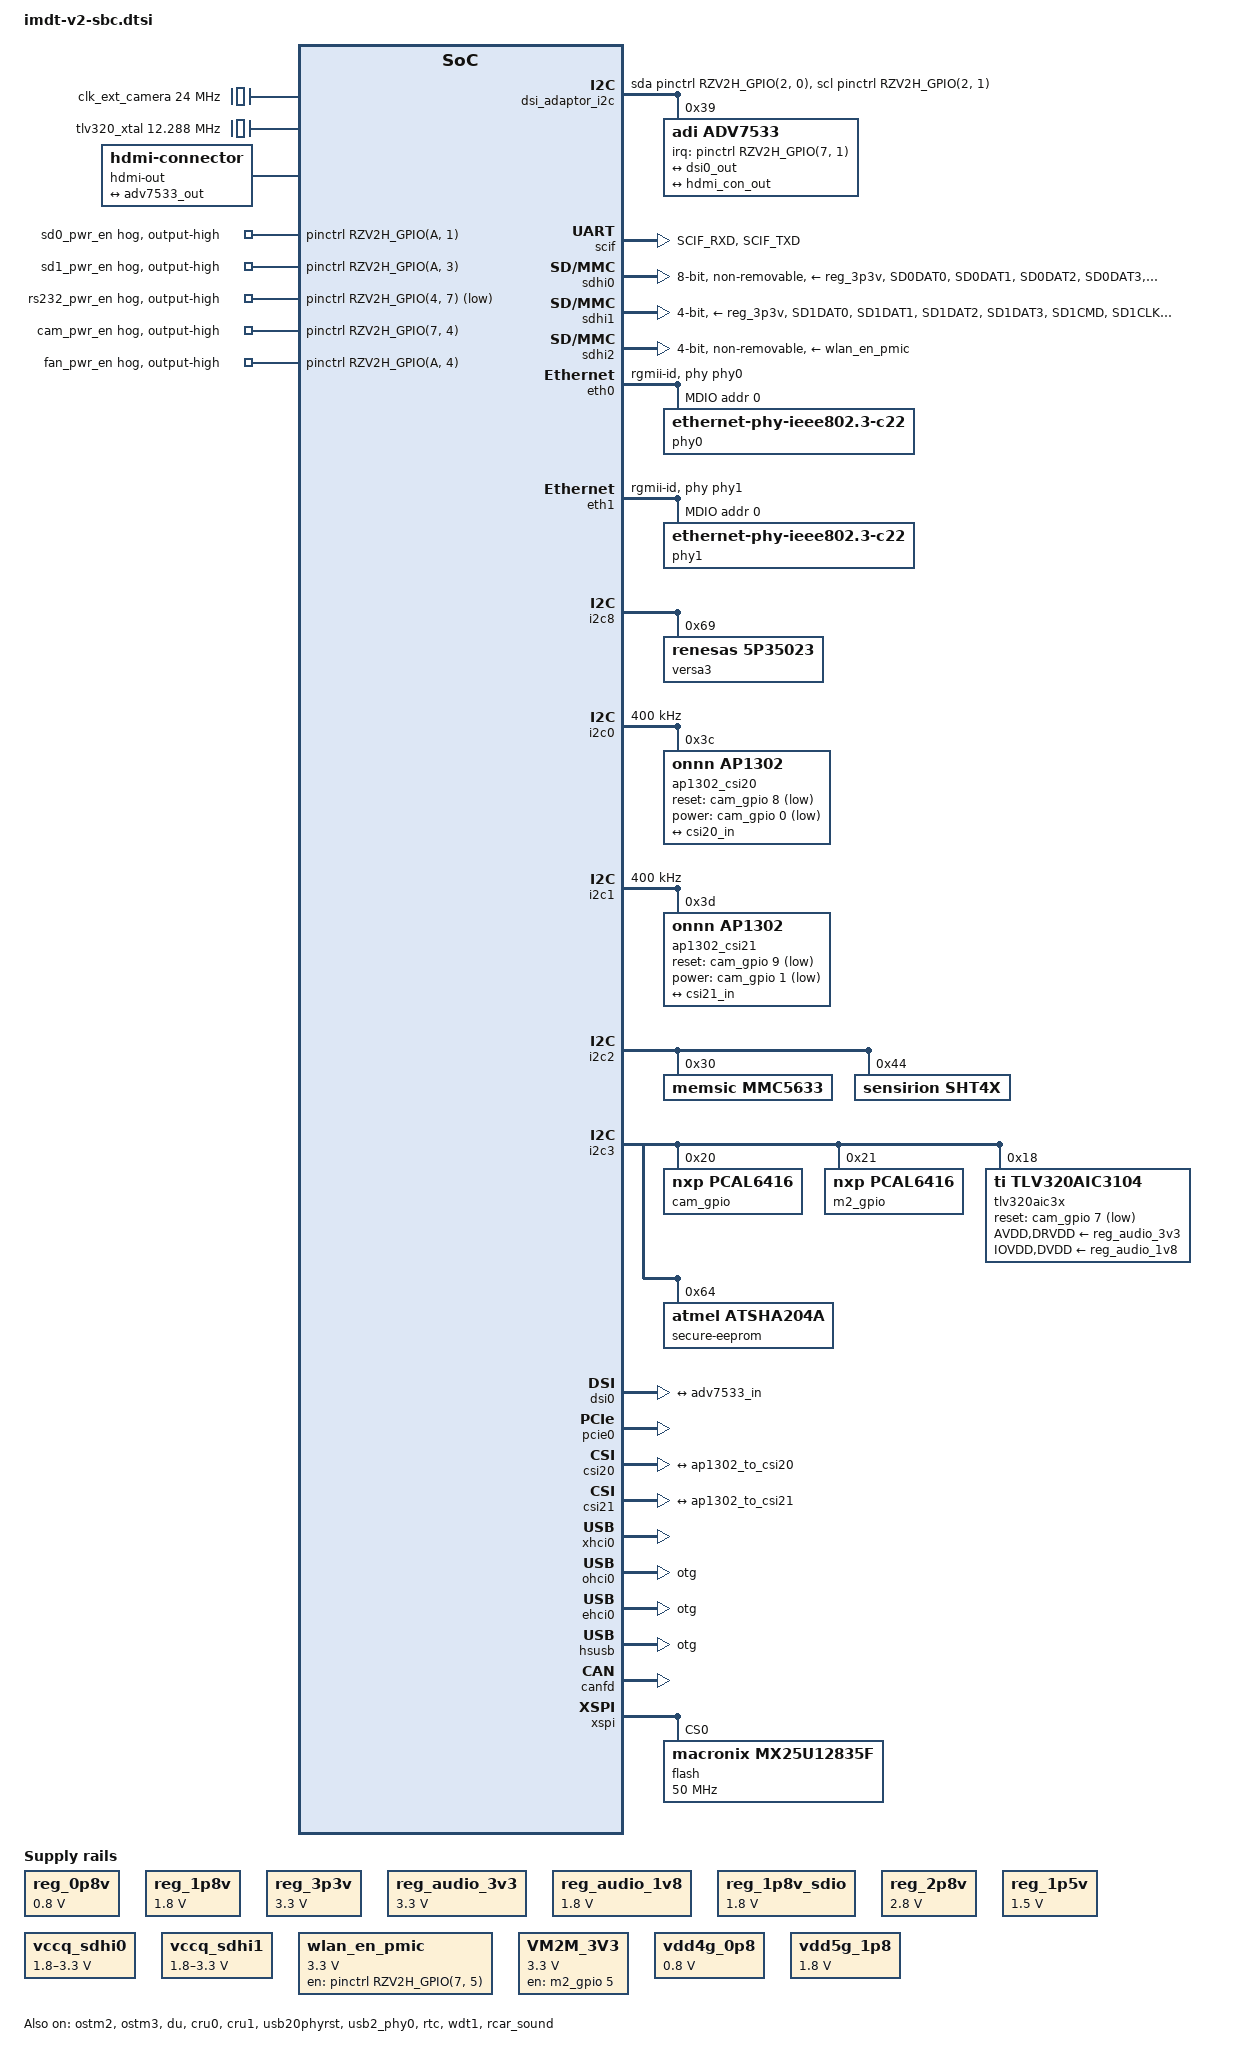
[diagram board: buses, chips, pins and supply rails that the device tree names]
// SPDX-License-Identifier: (GPL-2.0-only OR BSD-2-Clause)
/*
 * Common device tree for the IMDT Renesas V2N or V2H SBCs
 *
 * Copyright (C) 2025 Renesas Electronics Corp.
 * Copyright (C) 2024 IMD Technologies Ltd.
 */

/* I2C7_SEL:
 *	0 - Use RS232 (default)
 *	1 - Use I2C7 for CSI camera slot 4
*/

#define I2C7_SEL	0

/ {
	chosen {
		bootargs = "ignore_loglevel";
		stdout-path = "serial0:115200n8";
	};

	mmngr {
		compatible = "renesas,mmngr";
		memory-region = <&mmp_reserved>;
	};

	mmngrbuf {
		compatible = "renesas,mmngrbuf";
	};

	vspm_if {
		compatible = "renesas,vspm_if";
	};

	reg_0p8v: regulator-0p8v {
		compatible = "regulator-fixed";

		regulator-name = "fixed-0.8V";
		regulator-min-microvolt = <800000>;
		regulator-max-microvolt = <800000>;
		regulator-boot-on;
		regulator-always-on;
	};

	reg_1p8v: regulator0 {
		compatible = "regulator-fixed";

		regulator-name = "fixed-1.8V";
		regulator-min-microvolt = <1800000>;
		regulator-max-microvolt = <1800000>;
		regulator-boot-on;
		regulator-always-on;
	};

	reg_3p3v: regulator1 {
		compatible = "regulator-fixed";

		regulator-name = "fixed-3.3V";
		regulator-min-microvolt = <3300000>;
		regulator-max-microvolt = <3300000>;
		regulator-boot-on;
		regulator-always-on;
	};

	reg_audio_3v3: regulator2 {
		compatible = "regulator-fixed";
		regulator-name = "audio-3V3";
		regulator-min-microvolt = <3300000>;
		regulator-max-microvolt = <3300000>;
		regulator-always-on;
	};

	reg_audio_1v8: regulator3 {
		compatible = "regulator-fixed";
		regulator-name = "audio-1V8";
		regulator-min-microvolt = <1800000>;
		regulator-max-microvolt = <1800000>;
		regulator-always-on;
	};

	reg_1p8v_sdio: regulator4 {
		compatible = "regulator-fixed";
		regulator-name = "sdio-fixed-1.8V";
		regulator-min-microvolt = <1800000>;
		regulator-max-microvolt = <1800000>;
		regulator-boot-on;
		regulator-always-on;
	};
	reg_2p8v: regulator5 {
		compatible = "regulator-fixed";

		regulator-name = "fixed-2.8V";
		regulator-min-microvolt = <2800000>;
		regulator-max-microvolt = <2800000>;
		regulator-boot-on;
		regulator-always-on;
	};
	reg_1p5v: regulator6 {
		compatible = "regulator-fixed";

		regulator-name = "fixed-1.5V";
		regulator-min-microvolt = <1500000>;
		regulator-max-microvolt = <1500000>;
		regulator-boot-on;
		regulator-always-on;
	};

	vccq_sdhi0: regulator-vccq-sdhi0 {
		compatible = "regulator-gpio";

		regulator-name = "SDHI0 VccQ";
		regulator-min-microvolt = <1800000>;
		regulator-max-microvolt = <3300000>;

		// LDO_SEL1 input on RAA215300 PMIC
		gpios = <&pinctrl RZV2H_GPIO(A, 0) GPIO_ACTIVE_HIGH>;

		gpios-states = <0>;
		states = <3300000 0 1800000 1>;
	};

	vccq_sdhi1: regulator-vccq-sdhi1 {
		compatible = "regulator-gpio";

		regulator-name = "SDHI1 VccQ";
		regulator-min-microvolt = <1800000>;
		regulator-max-microvolt = <3300000>;

		// LDO_SEL2 input on RAA215300 PMIC
		gpios = <&pinctrl RZV2H_GPIO(A, 2) GPIO_ACTIVE_HIGH>;

		gpios-states = <0>;
		states = <3300000 0 1800000 1>;
	};

	wlan_en_pmic: wlan-en-1-8v {
		compatible = "regulator-fixed";

		regulator-name = "wlan-pmic-en-regulator";
		regulator-min-microvolt = <3300000>;
		regulator-max-microvolt = <3300000>;

		gpio = <&pinctrl RZV2H_GPIO(7, 5) GPIO_ACTIVE_HIGH>;

		startup-delay-us = <100000>;
		enable-active-high;
	};

	// Regulator for the M2 Key M slot
	VM2M_3V3: VM2M_en-3-3v {
		compatible = "regulator-fixed";

		regulator-name = "V2M_3V3";
		regulator-min-microvolt = <3300000>;
		regulator-max-microvolt = <3300000>;

		gpio = <&m2_gpio 5 GPIO_ACTIVE_HIGH>;

		startup-delay-us = <5000>; /* Measured to take 0.5ms using a scope, set to 5ms so there's a safety factor to ensure the regulator is stable */
		enable-active-high;
	};

	clk_ext_camera: clk_ext_camera {
		compatible = "fixed-clock";
		#clock-cells = <0>;
		clock-frequency = <24000000>;
	};

	vdd4g_0p8: vdd4g-0p8-regulator {
		compatible = "regulator-fixed";
		regulator-name = "vdd4g-0p8";
		regulator-min-microvolt = <800000>;
		regulator-max-microvolt = <800000>;
		regulator-always-on;
		regulator-boot-on;
	};

	vdd5g_1p8: vdd5g-1p8-regulator {
		compatible = "regulator-fixed";
		regulator-name = "vdd5g-1p8";
		regulator-min-microvolt = <1800000>;
		regulator-max-microvolt = <1800000>;
		regulator-always-on;
		regulator-boot-on;
	};

	// ov5645_vdddo_1v8: 1p8v {
	// 	compatible = "regulator-fixed";
	// 	regulator-name = "camera_vdddo";
	// 	regulator-min-microvolt = <1800000>;
	// 	regulator-max-microvolt = <1800000>;
	// 	regulator-always-on;
	// };

	// ov5645_vdda_2v8: 2p8v {
	// 	compatible = "regulator-fixed";
	// 	regulator-name = "camera_vdda";
	// 	regulator-min-microvolt = <2800000>;
	// 	regulator-max-microvolt = <2800000>;
	// 	regulator-always-on;
	// };

	// ov5645_vddd_1v5: 1p5v {
	// 	compatible = "regulator-fixed";
	// 	regulator-name = "camera_vddd";
	// 	regulator-min-microvolt = <1500000>;
	// 	regulator-max-microvolt = <1500000>;
	// 	regulator-always-on;
	// };

	/* input to the 5L35023B */
	x1_clk: x1-clock {
		compatible = "fixed-clock";
		#clock-cells = <0>;
		clock-frequency = <24000000>;
	};

	tlv320_xtal: tlv320_xtal {
		compatible = "fixed-clock";
		#clock-cells = <0>;
		clock-frequency = <12288000>;
	};

	snd_rzv2h: sound {
		#address-cells = <1>;
		#size-cells = <0>;
		compatible = "simple-audio-card";
		simple-audio-card,name = "rsnd_rzv2h";
		status="okay";
		simple-audio-card,widgets =
		"Microphone", "Microphone Jack",
		"Headphone", "Headphone Jack";
		simple-audio-card,routing =
		"Headphone Jack", "HPLOUT",
		"Headphone Jack", "HPROUT",
		"MIC2R", "Microphone Jack",
		"Microphone Jack", "Mic Bias";

			ssi_link: simple-audio-card,dai-link@0 {
				format = "i2s";
				reg = <0>;
				bitclock-master = <&cpu_dai0>;
				frame-master = <&cpu_dai0>;
				mclk-fs = <256>;
				
				cpu_dai0: cpu {
					sound-dai = <&rcar_sound>;
				};

				codec {
					sound-dai = <&tlv320aic3x>;
				};
			};
	};

	udmabuf@0 {
		compatible = "ikwzm,u-dma-buf";
		device-name = "udmabuf0";
		minor-number = <0>;
		size = <0x4000000>; // 64MiB
		dma-coherent;
		memory-region = <&image_buf0>;
	};

	dsi_adaptor_i2c: dsi_adaptor_i2c {
		compatible = "i2c-gpio";
		sda-gpios = <&pinctrl RZV2H_GPIO(2, 0) GPIO_ACTIVE_HIGH>;
		scl-gpios = <&pinctrl RZV2H_GPIO(2, 1) GPIO_ACTIVE_HIGH>;
		i2c-gpio,delay-us = <2>; /* ~100 kHz */
		#address-cells = <1>;
		#size-cells = <0>;
		status = "okay";

		adv7533: hdmi@39 {
			compatible = "adi,adv7533";
			reg = <0x39>;
			status = "okay";
			interrupt-parent = <&pinctrl>;
			interrupts = <RZV2H_GPIO(7, 1) IRQ_TYPE_LEVEL_LOW>;
			adi,dsi-lanes = <4>;

			ports {
				#address-cells = <1>;
				#size-cells = <0>;

				port@0 {
					reg = <0>;
					adv7533_in: endpoint@0 {
						remote-endpoint = <&dsi0_out>;
					};
				};

				port@1 {
					reg = <1>;
					adv7533_out: endpoint@1 {
						remote-endpoint = <&hdmi_con_out>;
					};
				};
			};
		};
	};

	hdmi-out {
		compatible = "hdmi-connector";
		type = "d";

		port {
			hdmi_con_out: endpoint {
				remote-endpoint = <&adv7533_out>;
			};
		};
	};
};

&audio_clka {
	/* output from 5L35023B */
	clock-frequency = <22579200>;
}; 

&pinctrl {
	can1_pins: can1 {
		pinmux = <RZV2H_PORT_PINMUX(8, 2, 5)>, /* TX */
		<RZV2H_PORT_PINMUX(8, 3, 5)>; /* RX */
	};

	scif_pins: scif {
		pins =  "SCIF_RXD", "SCIF_TXD";
	};

	sci0_pins: sci0 {
		pinmux = <RZV2H_PORT_PINMUX(5, 0, 1)>, /* SCI0_TXD_MOSI_SDA */
		<RZV2H_PORT_PINMUX(5, 1, 1)>; /* SCI0_RXD_MISO_SCL */
	};

	// TODO: these are used to communicate with the ISPs

	// sci4_pins: sci4 {
	// 	pinmux = <RZV2H_PORT_PINMUX(8, 4, 6)>, /* SCI4_TXD_MOSI_SDA */
	// 		 <RZV2H_PORT_PINMUX(8, 5, 6)>; /* SCI4_RXD_MISO_SCL */
	// };

	// TODO: these are used to communicate with the IMU

	// sci5_pins: sci5 {
	// 	pinmux = <RZV2H_PORT_PINMUX(8, 6, 6)>, /* SCI5_TXD_MOSI_SDA */
	// 		 <RZV2H_PORT_PINMUX(8, 7, 6)>; /* SCI5_RXD_MISO_SCL */
	// };

	sd0_pwr_en {
		gpio-hog;
		gpios = <RZV2H_GPIO(A, 1) GPIO_ACTIVE_HIGH>;
		output-high;
		line-name = "sd0_pwr_en";
	};

	sdhi0_emmc_pins: emmc-pins {
		sd0-dat-cmd {
			pins = "SD0DAT0", "SD0DAT1", "SD0DAT2", "SD0DAT3", "SD0DAT4",
					"SD0DAT5", "SD0DAT6", "SD0DAT7", "SD0CMD";
			input-enable;
			renesas,output-impedance = <3>;
			slew-rate = <0>;
		};

		sd0-clk {
			pins = "SD0CLK";
			renesas,output-impedance = <3>;
			slew-rate = <0>;
		};
	};

	sd1_pwr_en {
		gpio-hog;
		gpios = <RZV2H_GPIO(A, 3) GPIO_ACTIVE_HIGH>;
		output-high;
		line-name = "sd1_pwr_en";
	};

	sdhi1_pins: sd1 {
		sd1_dat_cmd {
			pins = "SD1DAT0", "SD1DAT1", "SD1DAT2", "SD1DAT3", "SD1CMD";
			input-enable;
			renesas,output-impedance = <3>;
			slew-rate = <0>;
		};

		sd1_clk {
			pins = "SD1CLK";
			renesas,output-impedance = <3>;
			slew-rate = <0>;
		};
	};

	rs232_pwr_en {
#if !I2C7_SEL
		gpio-hog;
		gpios = <RZV2H_GPIO(4, 7) GPIO_ACTIVE_LOW>;
		output-high;
		line-name = "rs232_pwr_en";
#endif
	};
	/* cam_pwr_en turns on 1.2V reg, 1.8V_CAM supply and 3.3V_CAM supply. */
	/* Schematic on SOM shows this being PB2/CAM0&1_PWR but it's actually using */ 
	/* P74. And you can trace this from the SOM to the SBC schematic */
	cam_pwr_en {
		gpio-hog;
		gpios = <RZV2H_GPIO(7, 4) GPIO_ACTIVE_HIGH>;
		output-high;
		line-name = "cam_pwr_en";
	};

	fan_pwr_en {
		gpio-hog;
		gpios = <RZV2H_GPIO(A, 4) GPIO_ACTIVE_HIGH>;
		output-high;
		line-name = "fan_pwr_en";
	};

	i2c0_pins: i2c0 {
		pinmux = <RZV2H_PORT_PINMUX(3, 0, 1)>, /* I2C0_SDA */
		<RZV2H_PORT_PINMUX(3, 1, 1)>; /* I2C0_SCL */
	};

	i2c1_pins: i2c1 {
		pinmux = <RZV2H_PORT_PINMUX(3, 2, 1)>, /* I2C1_SDA */
		<RZV2H_PORT_PINMUX(3, 3, 1)>; /* I2C1_SCL */
	};

	i2c2_pins: i2c2 {
#if (!I3C_SEL)
		pinmux = <RZV2H_PORT_PINMUX(3, 4, 1)>, /* I2C2_SDA */
			 <RZV2H_PORT_PINMUX(3, 5, 1)>; /* I2C2_SCL */
#endif
	};

	i2c3_pins: i2c3 {
		pinmux = <RZV2H_PORT_PINMUX(3, 6, 1)>, /* I2C3_SDA */
			 <RZV2H_PORT_PINMUX(3, 7, 1)>; /* I2C3_SCL */
	};

	i2c5_pins: i2c5 {
		pinmux = <RZV2H_PORT_PINMUX(4, 2, 1)>, /* I2C5_SDA */
		<RZV2H_PORT_PINMUX(4, 3, 1)>; /* I2C5_SCL */
	};

	i2c6_pins: i2c6 {
		pinmux = <RZV2H_PORT_PINMUX(4, 4, 1)>, /* I2C6_SDA */
			 <RZV2H_PORT_PINMUX(4, 5, 1)>; /* I2C6_SCL */
	};

#if I2C7_SEL
	i2c7_pins: i2c7 {
		pinmux = <RZV2H_PORT_PINMUX(4, 6, 1)>, /* I2C7_SDA */
			 <RZV2H_PORT_PINMUX(4, 7, 1)>; /* I2C7_SCL */
	};
#endif

	i2c8_pins: i2c8 {
		pinmux = <RZV2H_PORT_PINMUX(0, 6, 1)>, /* I2C8_SDA */
			 <RZV2H_PORT_PINMUX(0, 7, 1)>; /* I2C8_SCL */
	};

	usb30_pins: usb30 {
		pinmux = <RZV2H_PORT_PINMUX(6, 0, 14)>; /* VBUS */
	};

	usb31_pins: usb31 {
		pinmux = <RZV2H_PORT_PINMUX(6, 2, 14)>; /* VBUS */
	};

	usb20_pins: usb20 {
		pinmux = <RZV2H_PORT_PINMUX(9, 5, 14)>, /* VBUS */
		<RZV2H_PORT_PINMUX(9, 6, 14)>; /* OVC */
	};

	usb21_pins: usb21 {
		pinmux = <RZV2H_PORT_PINMUX(6, 6, 14)>, /* VBUS */
		<RZV2H_PORT_PINMUX(6, 7, 14)>; /* OVC */
	};

	i3c_pins: i3c {
#if (I3C_SEL)
		pinmux = <RZV2H_PORT_PINMUX(2, 0, 1)>, /* I3C_SDA */
			 <RZV2H_PORT_PINMUX(2, 1, 1)>; /* I3C_SCL */
#endif
	};

	// spi2_pins: spi2 {
	// 	pinmux = <RZV2H_PORT_PINMUX(B, 3, 5)>, /* MISO */
	// 		 <RZV2H_PORT_PINMUX(B, 4, 5)>, /* MOSI */
	// 		 <RZV2H_PORT_PINMUX(A, 7, 5)>, /* SSL */
	// 		 <RZV2H_PORT_PINMUX(B, 5, 5)>; /* RSPCK */
	// };

	// TODO: Chat with Arnon
	// We should switch to use RSPI or I2C as 
	// there is currently no Simple SPI (RSCI) driver in
	// the kernel. Also, make sure to use their dedicated
	// Slave Select pin when using SPI as it will be toggled
	// by the HW regardless.
	// spi4_pins: spi4 {
	// 	pinmux = <RZV2H_PORT_PINMUX(8,  5, 6)>, /* MISO */
	// 		 <RZV2H_PORT_PINMUX(8,  4, 6)>, /* MOSI */
	// 		 <RZV2H_PORT_PINMUX(6,  4, 0)>, /* SSL */
	// 		 <RZV2H_PORT_PINMUX(8,  0, 1)>; /* RSPCK */
	// };

	sound_pins: sound {
		pinmux = <RZV2H_PORT_PINMUX(1, 2, 7)>, /* SSI3_SCK */
		<RZV2H_PORT_PINMUX(1, 3, 7)>, /* SSI3_WS */
		<RZV2H_PORT_PINMUX(0, 4, 7)>, /* SSI3_SDATA */
		<RZV2H_PORT_PINMUX(1, 5, 7)>; /* SSI4_SDATA */
	};

	wifi_sdio_pins: wifi {
		wifi_sdio_data_pins {
		pinmux = <RZV2H_PORT_PINMUX(B, 1, 1)>, //SD2DAT0
			<RZV2H_PORT_PINMUX(B, 2, 1)>, //SD2DAT1
			<RZV2H_PORT_PINMUX(B, 3, 1)>, //SD2DAT2
			<RZV2H_PORT_PINMUX(B, 4, 1)>, //SD2DAT3
			<RZV2H_PORT_PINMUX(B, 5, 1)>; //SD2CMD
		};

		wifi_sdio_clk_pin {
		pinmux = <RZV2H_PORT_PINMUX(B, 0, 1)>; //SD2CLK
		};
	};

	bluetooth_pins: bluetooth {
		pinmux = <RZV2H_PORT_PINMUX(5, 4, 1)>, //SCI2_TXD_MOSI_SDA
		<RZV2H_PORT_PINMUX(5, 5, 1)>, //SCI2_RXD_MISO_SCL
		<RZV2H_PORT_PINMUX(5, 6, 4)>, //SCI2_CTS
		<RZV2H_PORT_PINMUX(5, 7, 2)>; //SCI2_CTS_RTS	
	};
};

&qextal_clk {
	clock-frequency = <24000000>;
};

&ostm2 {
	status = "okay";
};

&ostm3 {
	status = "okay";
};

&scif {
	pinctrl-0 = <&scif_pins>;
	pinctrl-names = "default";

	status = "okay";
};


// TODO: Replace this with the Simple-SPI peripheral

//&sci4 {
// 	pinctrl-0 = <&sci4_pins>;
// 	pinctrl-names = "default";
// 	status = "okay";
// };

// TODO: Replace this with the Simple-SPI peripheral

//&sci5 {
// 	pinctrl-0 = <&sci5_pins>;
// 	pinctrl-names = "default";
// 	status = "okay";
// };

&sdhi0 {
	pinctrl-0 = <&sdhi0_emmc_pins>;
	pinctrl-1 = <&sdhi0_emmc_pins>;
	pinctrl-names = "default", "state_uhs";
	vmmc-supply = <&reg_3p3v>;
	vqmmc-supply = <&vccq_sdhi0>;
	bus-width = <8>;
	non-removable;
	no-sd;
	no-sdio;
	mmc-hs200-1_8v;
	fixed-emmc-driver-type = <1>;
	status = "okay";
};

&sdhi1 {
	pinctrl-0 = <&sdhi1_pins>;
	pinctrl-1 = <&sdhi1_pins>;
	pinctrl-names = "default", "state_uhs";
	vmmc-supply  = <&reg_3p3v>;
	vqmmc-supply = <&vccq_sdhi1>;
	bus-width    = <4>;
	sd-uhs-sdr50;
	sd-uhs-sdr104;
	cd-gpios = <&pinctrl RZV2H_GPIO(9, 4) GPIO_ACTIVE_HIGH>;
	status = "okay";
};

&sdhi2 {
	pinctrl-names = "default";
	pinctrl-0 = <&wifi_sdio_pins>;

	// TODO - I think all we need here is the vmmc-supply set to a 3.3Vreg (the Wifi_3v3 reg) 
	// and the mmc-powerseq property to set PMIC_EN
	// As we have learnt, the vmmc-supply property is used to 
	// set the host OCR mask (ie what voltages the host supports).
	// And it needs to be 3v3!
	vmmc-supply = <&wlan_en_pmic>;
	vqmmc-supply = <&reg_1p8v_sdio>;
	bus-width = <4>;
	keep-power-in-suspend;
	non-removable;

	no-sd;
	no-mmc;

	sd-uhs-sdr12;
	sd-uhs-sdr25;
	sd-uhs-sdr50;
	status = "okay";
};

&eth0 {
	phy-handle = <&phy0>;
	phy-mode = "rgmii-id";
	status = "okay";

	mdio {
		#address-cells = <1>;
		#size-cells = <0>;
		phy0: ethernet-phy@0 {
		compatible = "ethernet-phy-ieee802.3-c22";
		reg = <0>;

		// NOTE: these properties were copied from pico-e device tree
		eee-broken-1000t;
		rtl821x,clkout-disable;
		};
	};
};

&eth1 {
	phy-handle = <&phy1>;
	phy-mode = "rgmii-id";
	status = "okay";

	mdio {
		#address-cells = <1>;
		#size-cells = <0>;
		phy1: ethernet-phy@0 {
		compatible = "ethernet-phy-ieee802.3-c22";
		reg = <0>;

		// NOTE: these properties were copied from pico-e device tree
		eee-broken-1000t;
		rtl821x,clkout-disable;
		};
	};
};

&i2c8 {
	pinctrl-0 = <&i2c8_pins>;
	pinctrl-names = "default";

	status = "okay";

	// TODO: Missing entries for the PMIC and its RTC, e.g.:

	// pmic: raa215300@12 {
	// 	compatible = "renesas,raa215300";
	// 	reg = <0x12>;

	// 	rtc-enable;
	// };

	// rtc: isl1208@6f {
	// 	compatible = "isil,isl1208";
	// 	reg = <0x6f>;

	// 	external-oscillator;
	// };

	// TODO: Missing entry for DA9141

	versa3: versa3@69 {
		compatible = "renesas,5p35023";
		reg = <0x69>;
		#clock-cells = <1>;
		clocks = <&x1_clk>;
		clock-names = "x1";
		otp-burned;
		32kHz-free-running;

		assigned-clocks = <&versa3 0>,
			<&versa3 1>,
			<&versa3 2>,
			<&versa3 3>,
			<&versa3 4>,
			<&versa3 5>;
		assigned-clock-rates =  <100000000>, <100000000>,
			<24576000>, <22579200>,
			<24576000>, <24000000>;
		clock-divider-read-only = <1>, <1>, <1>, <1>, <1>;
		clock-flags = <2176>, <2176>, <2176>, <2052>, <2176>, <2048>;
	};
};

&i2c0 {
	pinctrl-0 = <&i2c0_pins>;
	pinctrl-names = "default";
	clock-frequency = <400000>;

	status = "okay";

	ap1302_csi20: ap1302_csi20@3c {
		compatible = "onnn,ap1302";
		reg = <0x3c>;

		clock-names = "csi_mclk";
		clocks = <&clk_ext_camera>;

		reset-gpios = <&cam_gpio 8 GPIO_ACTIVE_LOW>;
		power-gpios = <&cam_gpio 0 GPIO_ACTIVE_LOW>;

		port {
			ap1302_to_csi20: endpoint {
				clock-lanes = <0>;
				data-lanes = <1 2 3 4>;
				remote-endpoint = <&csi20_in>;
			};
		};

		sensors {
			#address-cells = <1>;
			#size-cells = <0>;

			onnn,model = "onnn,ar1335";

			sensor@0 {
				reg = <0>;
			};
		};		
	};
};

&i2c1 {
	pinctrl-0 = <&i2c1_pins>;
	pinctrl-names = "default";
	clock-frequency = <400000>;

	status = "okay";

	ap1302_csi21: ap1302_csi21@3d {
		compatible = "onnn,ap1302";
		reg = <0x3d>;

		clock-names = "csi_mclk";
		clocks = <&clk_ext_camera>;

		reset-gpios = <&cam_gpio 9 GPIO_ACTIVE_LOW>;
		power-gpios = <&cam_gpio 1 GPIO_ACTIVE_LOW>;

		port {
			ap1302_to_csi21: endpoint {
				clock-lanes = <0>;
				data-lanes = <1 2 3 4>;
				remote-endpoint = <&csi21_in>;
			};
		};

		sensors {
			#address-cells = <1>;
			#size-cells = <0>;

			onnn,model = "onnn,ar1335";

			sensor@0 {
				reg = <0>;
			};
		};		
	};
};

&i2c2 {
	pinctrl-0 = <&i2c2_pins>;
	pinctrl-names = "default";

	status = "okay";

	mmc5633@30 {
		compatible = "memsic,mmc5633";
		reg = <0x30>;
	};

	sht4x@44 {
		compatible = "sensirion,sht4x";
		reg = <0x44>;
	};
};

&i2c3 {
	pinctrl-0 = <&i2c3_pins>;
	pinctrl-names = "default";

	status = "okay";

	cam_gpio: gpio@20 { 
		compatible = "nxp,pcal6416";
		reg = <0x20>;
		gpio-controller;
		#gpio-cells = <2>;

		gpio-line-names =
		"ISP_CCM1_PWR_DIS", 
		"ISP_CCM2_PWR_DIS", 
		"CCM1_PWR_DIS", 
		"CCM2_PWR_DIS",
		"ISP_STBY", 
		"ISP_CAM_TRIG", 
		"CCM_TRIG", 
		"nAUDIO_RESET_1V8",
		"ISP_CCM1_RST", 				// CSI0 reset
		"ISP_CCM2_RST", 				// CSI1 reset
		"CCM1_RST", 
		"CCM2_RST",
		"USB2_SEL", 
		"M2_SDIO_RSTn", 
		"TP232", 
		"RS232_INVALIDn";

		// TODO: define GPIO hogs and Interrupt GPIO
		// interrupt-parent = <&pinctrl>;
		// interrupts = <RZV2H_GPIO(8, 7) IRQ_TYPE_LEVEL_LOW>;
		//isp-stby-hog {
		//	gpio-hog;
		//	gpios = <4 GPIO_ACTIVE_HIGH>;
		//	output-low;
		//};

		// TODO - Expose ISP_CAM_TRIG?
	};

	m2_gpio: gpio@21 {
		compatible = "nxp,pcal6416";
		reg = <0x21>;
		gpio-controller;
		#gpio-cells = <2>;

		gpio-line-names =
		"M2B-CONFIG_0", 
		"M2B-CONFIG_1", 
		"M2B-CONFIG_2", 
		"M2B-CONFIG_3",
		"M2B_CARD_ONOFFn", 
		"M2_PD_EN", 
		"M2E_BT_WAKE_HOST", 
		"M2B_W_DISABLE2n",
		"M2B_WAKE-UP", 
		"M2B_RSTn", 
		"M2B_DPR", 
		"M2B_FLIGHT_MODE",
		"CAN_STDBY", 
		"M2B_WAKE_HOST", 
		"M2E_BT_ENn", 
		"M2E_WLAN_ENn";
		
		// TODO: define GPIO hogs and Interrupt GPIO
		// interrupt-parent = <&pinctrl>;
		// interrupts = <RZV2H_GPIO(9, 7) IRQ_TYPE_LEVEL_LOW>;
	};

	// TODO: 9FGV0241 (https://lore.kernel.org/all/20220219015003.507601-2-marex@denx.de/T/)

	tlv320aic3x: codec@18 {
		#sound-dai-cells = <0>;
		compatible = "ti,tlv320aic3104";
		clocks = <&tlv320_xtal>;
		reg = <0x18>;
		reset-gpios = <&cam_gpio 7 GPIO_ACTIVE_LOW>;
		ai3x-micbias-vg = <1>;
		AVDD-supply = <&reg_audio_3v3>;
		IOVDD-supply = <&reg_audio_1v8>;
		DRVDD-supply = <&reg_audio_3v3>;
		DVDD-supply = <&reg_audio_1v8>;
	};

	secure-eeprom@64 {
		compatible = "atmel,atsha204a";
		reg = <0x64>;
	};
};

&i2c5 {
	pinctrl-0 = <&i2c5_pins>;
	pinctrl-names = "default";
	clock-frequency = <400000>;
	status = "disabled";

	ar1335_csi23: camera@36 {
		compatible = "onsemi,ar1335";
		reg = <0x36>;
		clocks = <&clk_ext_camera>;
		clock-names = "extclk";

		vdd_io-supply = <&reg_1p8v>;
		vaa-supply = <&reg_2p8v>;
		vdd-supply = <&reg_1p5v>;

		reset-gpios = <&cam_gpio 11 GPIO_ACTIVE_LOW>;   /* CCM2_RST */
		power-gpios = <&cam_gpio 3 GPIO_ACTIVE_LOW>;    /* CCM2_PWR_DIS */

		port {
			ar1335_to_csi23: endpoint {
				clock-lanes = <0>;
				data-lanes  = <1 2 3 4>;
				remote-endpoint = <&csi23_in>;
			};
		};
	};
};

&i2c6 {
	pinctrl-0 = <&i2c6_pins>;
	pinctrl-names = "default";
	clock-frequency = <400000>;
	status = "disabled";

	ar1335_csi22: camera@36 {
		compatible = "onsemi,ar1335";
		reg = <0x36>;
		clocks = <&clk_ext_camera>;
		clock-names = "extclk";

		vdd_io-supply = <&reg_1p8v>;
		vaa-supply = <&reg_2p8v>;
		vdd-supply = <&reg_1p5v>;

		reset-gpios = <&cam_gpio 10 GPIO_ACTIVE_LOW>;   /* CCM1_RST */
		power-gpios = <&cam_gpio 2 GPIO_ACTIVE_LOW>;    /* CCM1_PWR_DIS */

		port {
			ar1335_to_csi22: endpoint {
				clock-lanes = <0>;
				data-lanes  = <1 2 3 4>;
				remote-endpoint = <&csi22_in>;
			};
		};
	};
};

&du {
	status = "okay";
};

&dsi0 {
    status = "okay";
    ports {
        port@1 {
            dsi0_out: endpoint {
                remote-endpoint = <&adv7533_in>;
                data-lanes = <1 2 3 4>;
            };
        };
    };
};

&pcie0 {
	/* Map all possible DDR as inbound ranges */
	ranges = <0x02000000 0x0 0x30000000 0x0 0x30000000 0x0 0x18000000>;
	dma-ranges = <0x42000000 0 0x40000000 0 0x40000000 0x4 0x00000000>;
	vdd-supply = <&VM2M_3V3>;
	status = "okay";
};

&cru0 {
	status = "okay";
};

&csi20 {
	status = "okay";

	ports {
		port {
		csi20_in: endpoint {
			clock-lanes = <0>;
			data-lanes = <1 2 3 4>;
			remote-endpoint = <&ap1302_to_csi20>;
		};
		};
	};
};

&cru1 {
	status = "okay";
};

&csi21 {
	status = "okay";

	ports {
		port {
			csi21_in: endpoint {
				clock-lanes = <0>;
				data-lanes = <1 2 3 4>;
				remote-endpoint = <&ap1302_to_csi21>;
			};
		};
	};
};

&csi22 {
	status = "disabled";

	ports {
		port@0 {
			reg = <0>;
				csi22_in: endpoint {
				clock-lanes = <0>;
				data-lanes  = <1 2 3 4>;
				remote-endpoint = <&ar1335_to_csi22>;
			};
		};
	};
};

&csi23 {
	status = "disabled";

	ports {
		port@0 {
			reg = <0>;
			csi23_in: endpoint {
				clock-lanes = <0>;
				data-lanes  = <1 2 3 4>;
				remote-endpoint = <&ar1335_to_csi23>;
			};
		};
	};
};

&cru2 {
	status = "disabled";
};

&cru3 {
	status = "disabled";
};

&xhci0 {
	pinctrl-0 = <&usb30_pins>;
	pinctrl-names = "default";

	memory-region = <&global_cma>;
	status = "okay";
};


&usb20phyrst {
	status = "okay";
};


&ohci0 {
	memory-region = <&global_cma>;

	dr_mode = "otg";
	status = "okay";
};


&ehci0 {
	memory-region = <&global_cma>;

	dr_mode = "otg";
	status = "okay";
};


&hsusb {
	dr_mode = "otg";
	status = "okay";
};

&usb2_phy0 {
	pinctrl-0 = <&usb20_pins>;
	pinctrl-names = "default";

	status = "okay";
};


&rtc {
	status = "okay";
};

&canfd {
	pinctrl-0 = <&can1_pins>;
	pinctrl-names = "default";
	status = "okay";
	//renesas,no-can-fd; - enables classic CAN
	channel1 {
		status = "okay";
	};
};

&wdt1 {
	status = "okay";
};

&xspi {
	status = "okay";

	flash@0 {
		compatible = "macronix,mx25u12835f", "jedec,spi-nor";
		reg = <0>;
		m25p,fast-read;
		spi-max-frequency = <50000000>;
		spi-tx-bus-width = <1>;
		spi-rx-bus-width = <1>;
	};
};

&rcar_sound {
	pinctrl-names = "default";
	pinctrl-0 = <&sound_pins>;
	status = "okay";

	/* audio_clkout */
	#clock-cells = <0>;
	clock-frequency = <12288000>; /* should select audio_clka */
	#sound-dai-cells = <0>;

	rcar_sound,dai {
		dai0 {
			playback = <&ssi3>;
			capture  = <&ssi4>;
		};
	};
};

&ssi4 {
	shared-pin;
};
